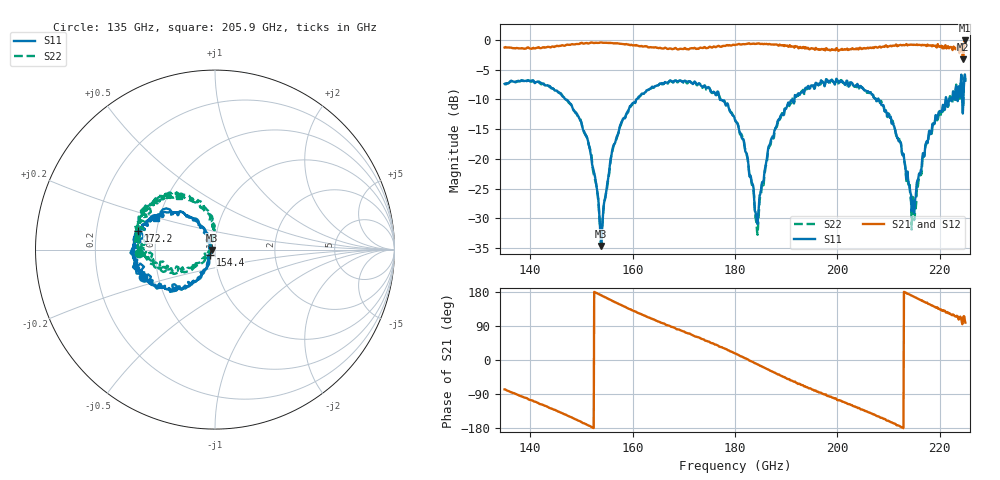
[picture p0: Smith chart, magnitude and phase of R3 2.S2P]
! Python used to change reference impedance from 50 to 1.
# Hz S RI R 1
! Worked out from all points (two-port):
!   901 points, 135 GHz to 225 GHz, reference 1 ohm
!   highest |S21| = -0.11 dB at 224.9 GHz (marker M1); lowest = -3.3 dB at 224.5 GHz (marker M2)
!   |S21| within 3 dB of the highest: start of sweep to 224.5 GHz; 224.6042 GHz to end of sweep
!   lowest |S11| = -34.6 dB at 153.9 GHz (marker M3), VSWR 1.04, Z = 0.964 - j0.0045 ohm
!   |S11| at or under -10 dB: 146.9 GHz to 160.8 GHz (13.94 GHz wide, 9.06 % of centre); 177 GHz to 191.6 GHz (14.58 GHz wide, 7.91 % of centre); 208.1 GHz to 221.1 GHz (13.07 GHz wide, 6.09 % of centre)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
!   |S22| runs from -34.7 to -6.3 dB; largest |S21 - S12| = 0.12
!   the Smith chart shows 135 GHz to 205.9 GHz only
!   S11 on the Smith chart (normalised r, x): 135 GHz: 0.41, -0.15; 154.4 GHz: 0.94, -0.06; 172.2 GHz: 0.39, +0.10; 205.9 GHz: 0.48, +0.19
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1.35e11  -0.3985 -0.1514  0.1867 -0.8416  0.1853 -0.8379  -0.4214 -0.0171
1.431e11  -0.3875 0.1436  -0.4561 -0.7353  -0.4483 -0.7384  -0.3091 0.269
1.5e11  -0.1061 0.1723  -0.9043 -0.261  -0.8944 -0.272  -0.0336 0.1972
1.517e11  -0.0523 0.1047  -0.9373 -0.0884  -0.9351 -0.1015  -0.00996 0.12
1.539e11  -0.0184 -0.00233  -0.9373 0.158  -0.9382 0.1497  -0.0181 0.00365
1.544e11  -0.0286 -0.0304  -0.9195 0.2091  -0.9211 0.2015  -0.0377 -0.0167
1.579e11  -0.1055 -0.1766  -0.7471 0.5432  -0.7523 0.5377  -0.1611 -0.1235
1.65e11  -0.3839 -0.1612  -0.1695 0.8339  -0.1802 0.832  -0.4134 0.00547
1.722e11  -0.4296 0.1061  0.3953 0.7525  0.3939 0.754  -0.3464 0.2669
1.8e11  -0.1253 0.1718  0.8623 0.2731  0.8627 0.2715  -0.0351 0.2124
1.821e11  -0.0612 0.0953  0.9166 0.0639  0.9169 0.0642  -0.00766 0.1165
1.843e11  -0.029 0.000646  0.9121 -0.1704  0.9129 -0.166  -0.0207 0.0135
1.882e11  -0.0984 -0.1673  0.7286 -0.5469  0.7315 -0.5419  -0.1576 -0.1015
1.95e11  -0.3781 -0.1671  0.1861 -0.8295  0.1985 -0.8265  -0.4109 0.0217
2.059e11  -0.3267 0.174  -0.6241 -0.588  -0.62 -0.5926  -0.2002 0.2975
2.1e11  -0.154 0.1742  -0.8329 -0.2869  -0.8328 -0.2875  -0.0585 0.2334
2.126e11  -0.0617 0.0942  -0.8968 -0.0315  -0.8965 -0.0333  -0.00134 0.1122
2.149e11  -0.0367 -0.000267  -0.887 0.195  -0.8853 0.2029  -0.0271 0.0203
2.19e11  -0.1084 -0.1695  -0.6887 0.5662  -0.6879 0.5663  -0.1772 -0.0904
2.245e11  -0.2023 -0.1296  -0.1789 0.6611  -0.1429 0.6699  -0.2668 0.0272
2.249e11  -0.4531 -0.2384  -0.2381 0.958  -0.1962 0.9677  -0.4815 0.0393
2.25e11  -0.4377 -0.1199  -0.14 0.9093  -0.1147 0.9125  -0.4447 0.1204
